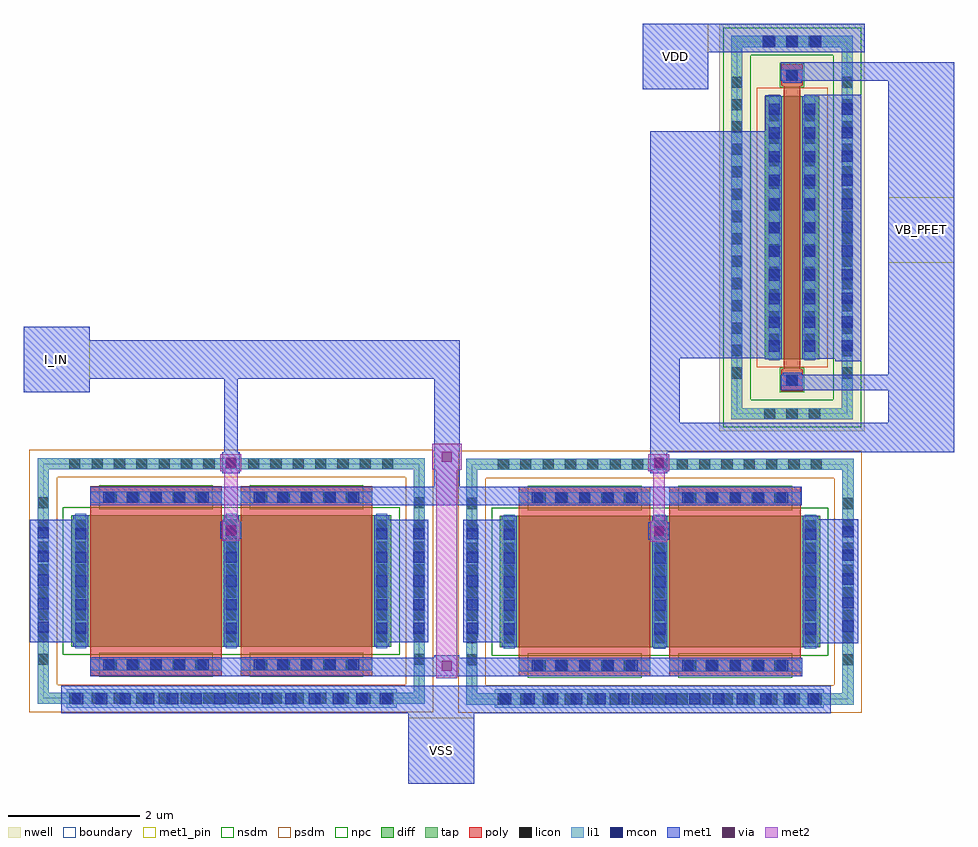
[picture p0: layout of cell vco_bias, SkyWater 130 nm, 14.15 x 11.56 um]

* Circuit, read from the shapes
.subckt vco_bias I_IN VB_PFET VDD VSS
XM1 I_IN I_IN VSS VSS sky130_fd_pr__nfet_01v8 w=2 l=2 m=2
XM2 VB_PFET I_IN VSS VSS sky130_fd_pr__nfet_01v8 w=2 l=2 m=2
XM3 VDD VB_PFET VB_PFET VDD sky130_fd_pr__pfet_01v8 w=4 l=0.25
.ends

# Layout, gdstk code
import gdstk
lib = gdstk.Library(unit=1e-6, precision=1e-09)
def R(c, l, rs):  # rectangles x0, y0, x1, y1
    for r in rs: c.add(gdstk.rectangle(r[:2], r[2:], *l))
def A(c, l, x, y, w, h, nx, ny, dx, dy):  # array of equal rectangles
    R(c, l, [(x+i*dx, y+j*dy, x+i*dx+w, y+j*dy+h) for i in range(nx) for j in range(ny)])
nwell = (64, 20)
diff = (65, 20)
tap = (65, 44)
poly = (66, 20)
licon = (66, 44)
li1 = (67, 20)
mcon = (67, 44)
met1_pin = (68, 16)
met1 = (68, 20)
via = (68, 44)
met2 = (69, 20)
nsdm = (93, 44)
psdm = (94, 20)
npc = (95, 20)
boundary = (235, 4)

sky130_fd_pr__pfet_01v8_ = lib.new_cell('sky130_fd_pr__pfet_01v8_NDBSV3')
R(sky130_fd_pr__pfet_01v8_, nwell, [(-1.105,-3.095,1.105,3.095)])
R(sky130_fd_pr__pfet_01v8_, diff, [(-0.415,-2,0.415,2)])
R(sky130_fd_pr__pfet_01v8_, tap, [(-0.925,-2.915,0.925,-2.745), (-0.925,-2.745,-0.755,2.745), (0.755,-2.745,0.925,2.745), (-0.925,2.745,0.925,2.915)])
R(sky130_fd_pr__pfet_01v8_, poly, [(-0.165,-2.485,0.165,-2.155), (-0.125,-2.155,0.125,2.155), (-0.165,2.155,0.165,2.485)])
A(sky130_fd_pr__pfet_01v8_, licon, -0.425, -2.915, 0.17, 0.17, 3, 2, 0.34, 5.66)
A(sky130_fd_pr__pfet_01v8_, licon, -0.925, -2.295, 0.17, 0.17, 1, 14, 0, 0.34)
A(sky130_fd_pr__pfet_01v8_, licon, 0.755, -2.295, 0.17, 0.17, 1, 14, 0, 0.34)
A(sky130_fd_pr__pfet_01v8_, licon, -0.355, -1.785, 0.17, 0.17, 1, 11, 0, 0.34)
A(sky130_fd_pr__pfet_01v8_, licon, 0.185, -1.785, 0.17, 0.17, 1, 11, 0, 0.34)
R(sky130_fd_pr__pfet_01v8_, licon, [(-0.085,-2.405,0.085,-2.235), (-0.085,2.235,0.085,2.405)])
R(sky130_fd_pr__pfet_01v8_, li1, [(-0.925,-2.915,0.925,-2.745), (-0.925,-2.745,-0.755,2.745), (0.755,-2.745,0.925,2.745), (-0.165,-2.405,0.165,-2.235), (-0.355,-2.02,-0.185,2.02), (0.185,-2.02,0.355,2.02), (-0.165,2.235,0.165,2.405), (-0.925,2.745,0.925,2.915)])
A(sky130_fd_pr__pfet_01v8_, mcon, -0.355, -1.885, 0.17, 0.17, 1, 11, 0, 0.36)
A(sky130_fd_pr__pfet_01v8_, mcon, 0.185, -1.885, 0.17, 0.17, 1, 11, 0, 0.36)
R(sky130_fd_pr__pfet_01v8_, mcon, [(-0.085,-2.405,0.085,-2.235), (-0.085,2.235,0.085,2.405)])
R(sky130_fd_pr__pfet_01v8_, met1, [(-0.145,-2.435,0.145,-2.205), (-0.385,-2,-0.155,2), (0.155,-2,0.385,2), (-0.145,2.205,0.145,2.435)])
R(sky130_fd_pr__pfet_01v8_, nsdm, [(-1.05,-3.04,1.05,-2.62), (-1.05,-2.62,-0.63,2.62), (0.63,-2.62,1.05,2.62), (-1.05,2.62,1.05,3.04)])
R(sky130_fd_pr__pfet_01v8_, psdm, [(-0.54,-2.125,0.54,2.125)])
R(sky130_fd_pr__pfet_01v8_, npc, [(-0.185,-2.505,0.185,-2.135), (-0.185,2.135,0.185,2.505)])
R(sky130_fd_pr__pfet_01v8_, boundary, [(-0.84,-2.83,0.84,2.83)])

sky130_fd_pr__nfet_01v8_ = lib.new_cell('sky130_fd_pr__nfet_01v8_XVWV9B')
R(sky130_fd_pr__nfet_01v8_, diff, [(-2.435,-1,2.435,1)])
R(sky130_fd_pr__nfet_01v8_, tap, [(-2.945,-1.87,2.945,-1.7), (-2.945,-1.7,-2.775,1.7), (2.775,-1.7,2.945,1.7), (-2.945,1.7,2.945,1.87)])
R(sky130_fd_pr__nfet_01v8_, poly, [(-2.145,-1.44,-0.145,1.44), (0.145,-1.44,2.145,1.44)])
A(sky130_fd_pr__nfet_01v8_, licon, -2.465, -1.87, 0.17, 0.17, 15, 2, 0.34, 3.57)
A(sky130_fd_pr__nfet_01v8_, licon, -1.91, -1.36, 0.17, 0.17, 5, 2, 0.34, 2.55)
A(sky130_fd_pr__nfet_01v8_, licon, 0.38, -1.36, 0.17, 0.17, 5, 2, 0.34, 2.55)
A(sky130_fd_pr__nfet_01v8_, licon, -2.945, -1.275, 0.17, 0.17, 1, 8, 0, 0.34)
A(sky130_fd_pr__nfet_01v8_, licon, 2.775, -1.275, 0.17, 0.17, 1, 8, 0, 0.34)
A(sky130_fd_pr__nfet_01v8_, licon, -2.375, -0.935, 0.17, 0.17, 3, 6, 2.29, 0.34)
A(sky130_fd_pr__nfet_01v8_, li1, -2.375, -1.02, 0.17, 2.04, 3, 1, 2.29, 0)
R(sky130_fd_pr__nfet_01v8_, li1, [(-2.945,-1.87,2.945,-1.7), (-2.945,-1.7,-2.775,1.7), (2.775,-1.7,2.945,1.7), (-2.145,-1.36,-0.145,-1.19), (0.145,-1.36,2.145,-1.19), (-2.145,1.19,-0.145,1.36), (0.145,1.19,2.145,1.36), (-2.945,1.7,2.945,1.87)])
A(sky130_fd_pr__nfet_01v8_, mcon, -1.95, -1.36, 0.17, 0.17, 5, 2, 0.36, 2.55)
A(sky130_fd_pr__nfet_01v8_, mcon, 0.34, -1.36, 0.17, 0.17, 5, 2, 0.36, 2.55)
A(sky130_fd_pr__nfet_01v8_, mcon, -2.375, -0.805, 0.17, 0.17, 3, 5, 2.29, 0.36)
A(sky130_fd_pr__nfet_01v8_, met1, -2.405, -1, 0.23, 2, 3, 1, 2.29, 0)
R(sky130_fd_pr__nfet_01v8_, met1, [(-2.125,-1.39,-0.165,-1.16), (0.165,-1.39,2.125,-1.16), (-2.125,1.16,-0.165,1.39), (0.165,1.16,2.125,1.39)])
R(sky130_fd_pr__nfet_01v8_, nsdm, [(-2.56,-1.125,2.56,1.125)])
R(sky130_fd_pr__nfet_01v8_, psdm, [(-3.07,-1.995,3.07,-1.575), (-3.07,-1.575,-2.65,1.575), (2.65,-1.575,3.07,1.575), (-3.07,1.575,3.07,1.995)])
R(sky130_fd_pr__nfet_01v8_, npc, [(-2.01,-1.46,-0.28,-1.09), (0.28,-1.46,2.01,-1.09), (-2.01,1.09,-0.28,1.46), (0.28,1.09,2.01,1.46)])
R(sky130_fd_pr__nfet_01v8_, boundary, [(-2.86,-1.785,2.86,1.785)])

vco_bias = lib.new_cell('vco_bias')
R(vco_bias, li1, [(2.44,-6.13,7.46,-5.85), (8.95,-6.13,13.96,-5.85), (7.71,-5.06,7.88,-3.34), (8.53,-5.06,8.7,-3.34), (2,-5.04,2.17,-3.33), (14.24,-5.03,14.41,-3.31), (14.23,-0.76,14.4,3.12), (13.03,3.92,13.92,4.09)])
A(vco_bias, mcon, 2.525, -6.075, 0.17, 0.17, 14, 1, 0.36, 0)
A(vco_bias, mcon, 9.03, -6.075, 0.17, 0.17, 14, 1, 0.36, 0)
A(vco_bias, mcon, 7.71, -5.005, 0.17, 0.17, 1, 5, 0, 0.36)
A(vco_bias, mcon, 8.53, -5.005, 0.17, 0.17, 1, 5, 0, 0.36)
A(vco_bias, mcon, 2, -4.99, 0.17, 0.17, 1, 5, 0, 0.36)
A(vco_bias, mcon, 14.24, -4.975, 0.17, 0.17, 1, 5, 0, 0.36)
A(vco_bias, mcon, 14.23, -0.705, 0.17, 0.17, 1, 11, 0, 0.36)
A(vco_bias, mcon, 13.03, 3.92, 0.17, 0.17, 3, 1, 0.36, 0)
R(vco_bias, met1_pin, [(7.64,-7.28,8.64,-6.28), (1.79,-1.33,2.79,-0.33), (14.94,0.64,15.94,1.64), (11.2,3.28,12.2,4.28)])
R(vco_bias, met1, [(7.64,-7.28,8.64,-6.21), (2.36,-6.21,14.06,-5.79), (2.8,-5.65,13.63,-5.37), (8.035,-5.37,8.415,-5.33), (11.365,-5.225,11.54,-3.57), (4.84,-5.19,5.04,-3.56), (13.67,-5.15,14.48,-3.26), (1.88,-5.13,2.72,-3.27), (7.14,-5.13,7.94,-3.27), (8.47,-5.13,9.25,-3.27), (11.29,-3.57,11.61,-3.31), (4.78,-3.56,5.1,-3.3), (2.8,-3.05,13.62,-2.77), (8.03,-2.77,8.42,-1.125), (4.81,-2.56,5.07,-2.24), (11.32,-2.56,11.58,-2.24), (4.84,-2.24,5.04,-1.125), (11.32,-2.24,15.94,-1.79), (11.32,-1.79,11.77,-0.81), (14.94,-1.79,15.94,-1.3), (1.79,-1.33,2.79,-1.125), (13.3,-1.3,15.94,-1.06), (1.79,-1.125,8.42,-0.535), (14.94,-1.06,15.94,3.41), (14.13,-0.86,14.53,-0.82), (13.07,-0.83,13.3,-0.81), (13.66,-0.82,14.53,3.2), (11.32,-0.81,13.3,2.64), (1.79,-0.535,2.79,-0.33), (13.07,2.64,13.3,3.19), (11.2,3.28,12.2,3.84), (13.3,3.41,15.94,3.69), (11.2,3.84,14.58,4.28)])
R(vco_bias, via, [(8.15,-5.565,8.3,-5.415), (11.375,-3.515,11.525,-3.365), (4.865,-3.505,5.015,-3.355), (4.865,-2.475,5.015,-2.325), (11.375,-2.475,11.525,-2.325), (8.15,-2.385,8.3,-2.235)])
R(vco_bias, met2, [(8.065,-5.68,8.385,-2.505), (11.32,-3.6,11.58,-3.28), (4.81,-3.59,5.07,-3.27), (11.36,-3.28,11.54,-2.53), (4.84,-3.27,5.04,-2.53), (4.78,-2.53,5.1,-2.27), (11.29,-2.53,11.61,-2.27), (8,-2.505,8.45,-2.115)])
vco_bias.add(gdstk.Reference(sky130_fd_pr__pfet_01v8_, (13.475,1.175)))
vco_bias.add(gdstk.Reference(sky130_fd_pr__nfet_01v8_, (11.465,-4.21)))
vco_bias.add(gdstk.Reference(sky130_fd_pr__nfet_01v8_, (4.945,-4.2)))
vco_bias.add(gdstk.Label('VDD', (11.7,3.78), layer=68, texttype=5))
vco_bias.add(gdstk.Label('VSS', (8.14,-6.78), layer=68, texttype=5))
vco_bias.add(gdstk.Label('I_IN', (2.29,-0.83), layer=68, texttype=5))
vco_bias.add(gdstk.Label('VB_PFET', (15.44,1.14), layer=68, texttype=5))

lib.write_gds('vco_bias.gds')
